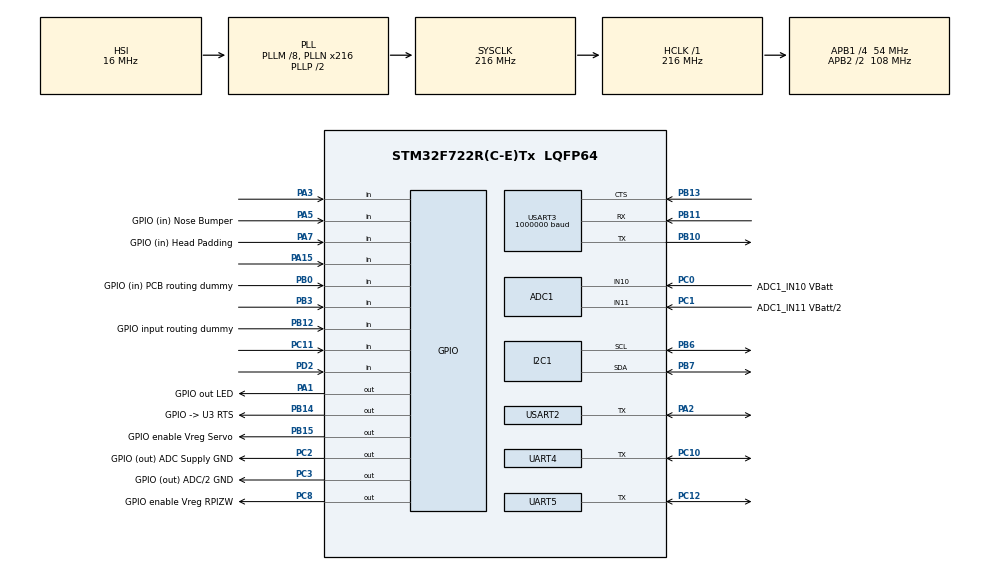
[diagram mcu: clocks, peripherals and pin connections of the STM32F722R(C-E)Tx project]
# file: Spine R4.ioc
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Mcu.Family=STM32F7
Dma.USART2_RX.2.PeriphDataAlignment=DMA_PDATAALIGN_BYTE
PA2.GPIO_PuPd=GPIO_PULLUP
VP_TIM5_VS_ClockSourceINT.Mode=Internal
Dma.USART3_RX.1.Mode=DMA_NORMAL
RCC.CortexFreq_Value=216000000
PC10.GPIO_PuPd=GPIO_PULLUP
PB10.GPIO_PuPd=GPIO_PULLUP
PB10.Mode=Asynchronous
NVIC.DMA1_Stream2_IRQn=true\:0\:0\:false\:false\:true\:false\:true
PC10.Signal=UART4_TX
PC12.Signal=UART5_TX
PB14.GPIO_Label=GPIO -> U3 RTS
PA2.GPIO_Speed=GPIO_SPEED_FREQ_VERY_HIGH
USART3.SwapParam=ADVFEATURE_SWAP_DISABLE
PC0.GPIO_Label=ADC1_IN10 VBatt
PB0.GPIO_Label=GPIO (in) PCB routing dummy
PB11.GPIO_PuPd=GPIO_PULLUP
PB11.Signal=USART3_RX
PB13.Signal=USART3_CTS
PB15.Signal=GPIO_Output
PB15.PinState=GPIO_PIN_SET
RCC.SYSCLKSource=RCC_SYSCLKSOURCE_PLLCLK
ProjectManager.StackSize=0x400
PC8.PinState=GPIO_PIN_SET
Dma.UART5_RX.3.MemDataAlignment=DMA_MDATAALIGN_BYTE
Dma.UART5_RX.3.Mode=DMA_NORMAL
USART3.VirtualMode-Asynchronous=VM_ASYNC
Dma.USART3_RX.1.MemInc=DMA_MINC_ENABLE
USART3.BaudRate=1000000
Dma.USART3_RX.1.Instance=DMA1_Stream1
UART4.BaudRate=1000000
RCC.HCLKFreq_Value=216000000
RCC.APB2TimFreq_Value=216000000
PB6.Signal=I2C1_SCL
Dma.USART3_RX.1.PeriphDataAlignment=DMA_PDATAALIGN_BYTE
PB6.Mode=I2C
Dma.USART2_RX.2.Priority=DMA_PRIORITY_HIGH
PC3.Signal=GPIO_Output
Dma.USART2_RX.2.MemDataAlignment=DMA_MDATAALIGN_BYTE
UART5.OverSampling=UART_OVERSAMPLING_16
RCC.AHBFreq_Value=216000000
PC10.GPIO_ModeDefaultOD=GPIO_MODE_AF_OD
ADC1.Channel-0\#ChannelRegularConversion=ADC_CHANNEL_10
RCC.HSE_VALUE=25000000
Dma.UART4_RX.0.MemDataAlignment=DMA_MDATAALIGN_BYTE
PB12.GPIO_Label=GPIO input routing dummy
Dma.USART3_RX.1.Priority=DMA_PRIORITY_HIGH
PA14.Mode=Serial_Wire
PA5.GPIO_PuPd=GPIO_PULLUP
PB7.Signal=I2C1_SDA
Dma.UART4_RX.0.PeriphDataAlignment=DMA_PDATAALIGN_BYTE
Dma.UART5_RX.3.Priority=DMA_PRIORITY_HIGH
ADC1.SamplingTime-0\#ChannelRegularConversion=ADC_SAMPLETIME_3CYCLES
RCC.UART4CLockSelection=RCC_UART4CLKSOURCE_SYSCLK
Mcu.Package=LQFP64
Dma.USART3_RX.1.FIFOMode=DMA_FIFOMODE_DISABLE
Dma.USART3_RX.1.Direction=DMA_PERIPH_TO_MEMORY
Dma.UART5_RX.3.PeriphInc=DMA_PINC_DISABLE
PA15.Signal=GPIO_Input
Dma.USART2_RX.2.Direction=DMA_PERIPH_TO_MEMORY
RCC.APB2CLKDivider=RCC_HCLK_DIV2
RCC.UART5CLockSelection=RCC_UART5CLKSOURCE_SYSCLK
Dma.Request2=USART2_RX
PC2.GPIO_ModeDefaultOutputPP=GPIO_MODE_OUTPUT_OD
Dma.Request1=USART3_RX
RCC.APB1TimFreq_Value=108000000
Dma.Request3=UART5_RX
NVIC.DMA1_Stream0_IRQn=true\:0\:0\:false\:false\:true\:false\:true
UART5.BaudRate=1000000
PB13.Mode=CTS_Only
Dma.Request0=UART4_RX
UART4.OverSampling=UART_OVERSAMPLING_16
VP_TIM5_VS_ClockSourceITR.Mode=TriggerSource_ITR0
PC2.GPIO_Label=GPIO (out) ADC Supply GND
PA3.Signal=GPIO_Input
Dma.UART4_RX.0.MemInc=DMA_MINC_ENABLE
ADC1.Rank-0\#ChannelRegularConversion=1
PC11.Signal=GPIO_Input
Dma.UART4_RX.0.Mode=DMA_NORMAL
PC8.Signal=GPIO_Output
PC2.Signal=GPIO_Output
PC10.Mode=Half_duplex(single_wire_mode)
Dma.USART3_RX.1.MemDataAlignment=DMA_MDATAALIGN_BYTE
NVIC.DMA1_Stream1_IRQn=true\:0\:0\:false\:false\:true\:false\:true
PC0.Signal=ADCx_IN10
RCC.APB1CLKDivider=RCC_HCLK_DIV4
PA2.GPIO_ModeDefaultOD=GPIO_MODE_AF_OD
USART2.BaudRate=1000000
Dma.USART2_RX.2.Mode=DMA_NORMAL
TIM5.ClockDivision=TIM_CLOCKDIVISION_DIV1
RCC.USART6CLockSelection=RCC_USART6CLKSOURCE_SYSCLK
USART3.OverSampling=UART_OVERSAMPLING_16
PC8.GPIO_Label=GPIO enable Vreg RPIZW
PA13.Signal=SYS_JTMS-SWDIO
Dma.UART5_RX.3.Instance=DMA1_Stream0
PB14.PinState=GPIO_PIN_SET
Dma.USART2_RX.2.MemInc=DMA_MINC_ENABLE
Dma.UART4_RX.0.Direction=DMA_PERIPH_TO_MEMORY
PB11.Mode=Asynchronous
ProjectManager.TargetToolchain=STM32CubeIDE
NVIC.DMA1_Stream5_IRQn=true\:0\:0\:false\:false\:true\:false\:true
I2C1.Timing=0x20404768
RCC.USBFreq_Value=216000000
Dma.UART4_RX.0.PeriphInc=DMA_PINC_DISABLE
RCC.LSE_VALUE=32768
PA1.Signal=GPIO_Output
PA7.GPIO_PuPd=GPIO_PULLUP
PB10.Signal=USART3_TX
PB14.Signal=GPIO_Output
PA5.Signal=GPIO_Input
PC12.Mode=Half_duplex(single_wire_mode)
board=custom
RCC.VCOOutputFreq_Value=432000000
Dma.UART4_RX.0.FIFOMode=DMA_FIFOMODE_DISABLE
Dma.UART4_RX.0.Priority=DMA_PRIORITY_HIGH
Dma.USART2_RX.2.PeriphInc=DMA_PINC_DISABLE
RCC.APB2Freq_Value=108000000
SH.ADCx_IN11.0=ADC1_IN11,IN11
PB15.GPIO_Label=GPIO enable Vreg Servo
Dma.UART5_RX.3.FIFOMode=DMA_FIFOMODE_DISABLE
PC1.GPIO_Label=ADC1_IN11 VBatt/2
PA1.GPIO_Label=GPIO out LED
Dma.UART5_RX.3.PeriphDataAlignment=DMA_PDATAALIGN_BYTE
PA13.Mode=Serial_Wire
Mcu.Name=STM32F722R(C-E)Tx
Dma.UART5_RX.3.Direction=DMA_PERIPH_TO_MEMORY
PA2.Signal=USART2_TX
PB3.Signal=GPIO_Input
RCC.SYSCLKFreq_VALUE=216000000
PA7.GPIO_Label=GPIO (in) Head Padding
ADC1.master=1
RCC.USART1CLockSelection=RCC_USART1CLKSOURCE_SYSCLK
PA5.GPIO_Label=GPIO (in) Nose Bumper
TIM5.Prescaler=54000
Dma.USART2_RX.2.Instance=DMA1_Stream5
USART2.VirtualMode-Half_duplex(single_wire_mode)=VM_ASYNC
PB7.Mode=I2C
PA14.Signal=SYS_JTCK-SWCLK
SH.ADCx_IN10.0=ADC1_IN10,IN10
ProjectManager.HeapSize=0x200
RCC.HSI_VALUE=16000000
NVIC.PriorityGroup=NVIC_PRIORITYGROUP_4
ADC1.NbrOfConversionFlag=1
RCC.PLLM=8
RCC.PLLN=216
Dma.UART4_RX.0.Instance=DMA1_Stream2
PA2.Mode=Half_duplex(single_wire_mode)
PC3.GPIO_Label=GPIO (out) ADC/2 GND
TIM5.Period=0xffffffff
Dma.USART2_RX.2.FIFOMode=DMA_FIFOMODE_DISABLE
RCC.USART2CLockSelection=RCC_USART2CLKSOURCE_SYSCLK
PC3.GPIO_ModeDefaultOutputPP=GPIO_MODE_OUTPUT_OD
PD2.Signal=GPIO_Input
RCC.APB1Freq_Value=54000000
PB0.Signal=GPIO_Input
RCC.USART3CLockSelection=RCC_USART3CLKSOURCE_SYSCLK
PC1.Signal=ADCx_IN11
PB12.Signal=GPIO_Input
Dma.USART3_RX.1.PeriphInc=DMA_PINC_DISABLE
Dma.UART5_RX.3.MemInc=DMA_MINC_ENABLE
PA7.Signal=GPIO_Input

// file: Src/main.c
/* USER CODE BEGIN Header */
/**
 ******************************************************************************
 * @file           : main.c
 * @brief          : Main program body
 ******************************************************************************
 * @attention
 *
 * <h2><center>&copy; Copyright (c) 2019 STMicroelectronics.
 * All rights reserved.</center></h2>
 *
 * This software component is licensed by ST under BSD 3-Clause license,
 * the "License"; You may not use this file except in compliance with the
 * License. You may obtain a copy of the License at:
 *                        opensource.org/licenses/BSD-3-Clause
 *
 ******************************************************************************
 */
/* USER CODE END Header */

#include "main.h"

/* USER CODE BEGIN Includes */
#include <mouseSpine.h>

/* USER CODE END Includes */

ADC_HandleTypeDef hadc1;

I2C_HandleTypeDef hi2c1;

TIM_HandleTypeDef htim5;

UART_HandleTypeDef huart4;
UART_HandleTypeDef huart5;
UART_HandleTypeDef huart2;
UART_HandleTypeDef huart3;
DMA_HandleTypeDef hdma_uart4_rx;
DMA_HandleTypeDef hdma_uart5_rx;
DMA_HandleTypeDef hdma_usart2_rx;
DMA_HandleTypeDef hdma_usart3_rx;

/* USER CODE BEGIN PV */
long ledCounter = 1;

/* USER CODE END PV */

void SystemClock_Config(void);
static void MX_GPIO_Init(void);
static void MX_DMA_Init(void);
static void MX_USART3_UART_Init(void);
static void MX_ADC1_Init(void);
static void MX_UART4_Init(void);
static void MX_UART5_Init(void);
static void MX_USART2_UART_Init(void);
static void MX_I2C1_Init(void);
static void MX_TIM5_Init(void);

/* USER CODE BEGIN 0 */

void setLEDcounter(long l) {
	ledCounter = l;
}

// ***********************************************************************************************************
//#define DELAY_1US	  ((unsigned long) 140)				// timing for RELEASE
//#define DELAY_1MS	  ((unsigned long) 108823)			// timing for RELEASE

#define DELAY_1US	  ((unsigned long) 189)				// timing for RELEASE
#define DELAY_1MS	  ((unsigned long) 146899)			// timing for RELEASE

void sleepUS(unsigned long delayTimeUS) {
	unsigned long m, n;
	for (n = 0; n < delayTimeUS; n++) {
		for (m = DELAY_1US; m; m--) {
			asm volatile ("nop");
		}
	}
}

void sleepMS(unsigned long delayTimeMS) {
	unsigned long m, n;
	for (n = 0; n < delayTimeMS; n++) {
		for (m = DELAY_1MS; m; m--) {
			asm volatile ("nop");
		}
	}
}

/* USER CODE END 0 */

int main(void) {
	/* USER CODE BEGIN 1 */
	// **************************************************************************************************	IWDG (independent watch-dog timer)
	if ((RCC->CSR) & BIT(29)) {		// are we waking up from a WDT reset?
		RCC->CSR |= BIT(24);// clear reset flags (memory of reset source) (so next time we're not ending here)
		enterBootLoader();// start boot loader, so we can update software if needed!
	}

	/* USER CODE END 1 */

	/* MCU Configuration--------------------------------------------------------*/

	/* Reset of all peripherals, Initializes the Flash interface and the Systick. */
	HAL_Init();

	/* Configure the system clock */
	SystemClock_Config();

	/* USER CODE BEGIN SysInit */

	SCB_InvalidateICache();
	SCB_DisableICache();				// disable instruction cache
	SCB_InvalidateDCache();
	SCB_DisableDCache();				// disable data cache

	/* USER CODE END SysInit */

	/* Initialize all configured peripherals */
	MX_GPIO_Init();
	MX_DMA_Init();
	MX_USART3_UART_Init();
	MX_ADC1_Init();
	MX_UART4_Init();
	MX_UART5_Init();
	MX_USART2_UART_Init();
	MX_I2C1_Init();
	MX_TIM5_Init();
	/* USER CODE BEGIN 2 */

	// ***********************************************************************************************************************
	GPIO_InitTypeDef pinDefML;
	pinDefML.Pin = (PORTC_ENABLE_RPIZW_POWER);		// enable the Vreg for RPIZW
	pinDefML.Mode = GPIO_MODE_OUTPUT_PP;
	pinDefML.Pull = GPIO_PULLUP;
	pinDefML.Speed = GPIO_SPEED_LOW;
	HAL_GPIO_Init(GPIOC, &pinDefML);
	PORTC->SET = PORTC_ENABLE_RPIZW_POWER;

	pinDefML.Pin = (PORTB_ENABLE_SERVOS_POWER);	// enable the Vreg for Servos
	pinDefML.Mode = GPIO_MODE_OUTPUT_PP;
	pinDefML.Pull = GPIO_PULLUP;
	pinDefML.Speed = GPIO_SPEED_LOW;
	HAL_GPIO_Init(GPIOB, &pinDefML);
	PORTB->SET = PORTB_ENABLE_SERVOS_POWER;

	/* USER CODE END 2 */

	/* Infinite loop */
	/* USER CODE BEGIN WHILE */

	uartShowVersion();

	long UART_BytesAvailable;
	char newChar;

	systemTimeHalfMS = 0;		// set System Time (Timer 5: TIM5->CNT) to zero
	HAL_TIM_Base_Start(&htim5);

	I2C1->CR1 |= I2C_CR1_PE;				// enable I2C
	I2C1->CR2 &= ~(BIT(11));				// set 7 bit addressing mode

	while (1) {
		/* USER CODE END WHILE */

		/* USER CODE BEGIN 3 */

		// ***********************************************************************************************************************
		if (ledCounter) {										// LED blinking
			if ((--ledCounter) == 0) {
				ledCounter = 200000;
				if ((PORTA->INP) & PORTA_LED_A) {
					PORTA->CLR = PORTA_LED_A;
				} else {
					PORTA->SET = PORTA_LED_A;
				}
			}
		}

		// ***********************************************************************************************************************
		UART_BytesAvailable = (-((DMA1_Stream1->NDTR) + uart3RXReadPointerDMA))
				& (UART_BUFFER_MASK);		// U3 - RasPIZW UART receive (UART3)
		while (UART_BytesAvailable) {
			newChar = uart3RXBufferDMA[uart3RXReadPointerDMA++];
			uart3RXReadPointerDMA &= UART_BUFFER_MASK;
			UART_BytesAvailable--;

			if ((newChar == '\n') || (newChar == '\r')) {
				uart3RXBuffer[uart3RXWritePointer++] = '\n';
				uart3RXBuffer[uart3RXWritePointer] = 0;
				uartSendChar('\n');
				uartParseCommand(uart3RXBuffer);
				uart3RXWritePointer = 0;
			} else {

				if (newChar == 8) {								// BACKSPACE
					if (uart3RXWritePointer) {
						uart3RXWritePointer--;
						uartSendChar(8);
					}
				} else {

					if (uart3RXWritePointer < (UART_BUFFER_SIZE - 2)) {
						uart3RXBuffer[uart3RXWritePointer++] = newChar;
					}
					uartSendChar(newChar);
				}
			}
		}

		// ***********************************************************************************************************************
		if (uart3TXWritePointer != uart3TXReadPointer) {// RPIZW UART transmit
			if ((USART3->ISR) & BIT(7)) {
				USART3->TDR = uart3TXBuffer[uart3TXReadPointer++];
				uart3TXReadPointer &= UART_BUFFER_MASK;
			}
		}

		// ***********************************************************************************************************************	U2 to Servo Chain Spine (UART 2)
		UART_BytesAvailable = (-((DMA1_Stream5->NDTR) + uartSRXReadPointerDMA))
				& (UART_BUFFER_MASK);

		while (UART_BytesAvailable) {
			newChar = uartSRXBufferDMA[uartSRXReadPointerDMA++];
			uartSRXReadPointerDMA &= UART_BUFFER_MASK;
			UART_BytesAvailable--;

			if (uartSRXDiscardCounter) {// is this one of the chars we sent out (ignore the echo because of one-wire transmission)
				uartSRXDiscardCounter--;
			} else {

				if (uartSRXWritePointer < (UART_BUFFER_SIZE - 2))
					uartSRXBuffer[uartSRXWritePointer++] = newChar;
				if ((newChar == '\n') || (newChar == '\r')) {
					uartSRXBuffer[uartSRXWritePointer] = 0;
					uartSendString("S:");
					uartSendString(uartSRXBuffer);
					uartSRXWritePointer = 0;
				}

			}
		}

		if (uartSTXWritePointer != uartSTXReadPointer) {// ***************************************************************
			if ((USART2->ISR) & BIT(7)) {
				USART2->TDR = uartSTXBuffer[uartSTXReadPointer++];
				uartSTXReadPointer &= UART_BUFFER_MASK;
#ifdef UART_SINGLE_WIRE
				uartSRXDiscardCounter++;
#endif
			}
		}

		// ***********************************************************************************************************************	U4 to Servo Chain Right (UART 4)
		UART_BytesAvailable = (-((DMA1_Stream2->NDTR) + uartRRXReadPointerDMA))
				& (UART_BUFFER_MASK);

		while (UART_BytesAvailable) {
			newChar = uartRRXBufferDMA[uartRRXReadPointerDMA++];
			uartRRXReadPointerDMA &= UART_BUFFER_MASK;
			UART_BytesAvailable--;

			if (uartRRXDiscardCounter) {// is this one of the chars we sent out (ignore the echo because of one-wire transmission)
				uartRRXDiscardCounter--;
			} else {

				if (uartRRXWritePointer < (UART_BUFFER_SIZE - 2))
					uartRRXBuffer[uartRRXWritePointer++] = newChar;
				if ((newChar == '\n') || (newChar == '\r')) {
					uartRRXBuffer[uartRRXWritePointer] = 0;
					uartSendString("R:");
					uartSendString(uartRRXBuffer);
					uartRRXWritePointer = 0;
				}

			}
		}

		if (uartRTXWritePointer != uartRTXReadPointer) {// ***************************************************************
			if ((UART4->ISR) & BIT(7)) {
				UART4->TDR = uartRTXBuffer[uartRTXReadPointer++];
				uartRTXReadPointer &= UART_BUFFER_MASK;
#ifdef UART_SINGLE_WIRE
				uartRRXDiscardCounter++;
#endif
			}
		}

		// ***********************************************************************************************************************	U5 to Servo Chain Left (UART 5)
		UART_BytesAvailable = (-((DMA1_Stream0->NDTR) + uartLRXReadPointerDMA))
				& (UART_BUFFER_MASK);

		while (UART_BytesAvailable) {
			newChar = uartLRXBufferDMA[uartLRXReadPointerDMA++];
			uartLRXReadPointerDMA &= UART_BUFFER_MASK;
			UART_BytesAvailable--;

			if (uartLRXDiscardCounter) {// is this one of the chars we sent out (ignore the echo because of one-wire transmission)
				uartLRXDiscardCounter--;
			} else {

				if (uartLRXWritePointer < (UART_BUFFER_SIZE - 2))
					uartLRXBuffer[uartLRXWritePointer++] = newChar;
				if ((newChar == '\n') || (newChar == '\r')) {
					uartLRXBuffer[uartLRXWritePointer] = 0;
					uartSendString("L:");
					uartSendString(uartLRXBuffer);
					uartLRXWritePointer = 0;
				}

			}
		}

		if (uartLTXWritePointer != uartLTXReadPointer) {// ***************************************************************
			if ((UART5->ISR) & BIT(7)) {
				UART5->TDR = uartLTXBuffer[uartLTXReadPointer++];
				uartLTXReadPointer &= UART_BUFFER_MASK;
#ifdef UART_SINGLE_WIRE
				uartLRXDiscardCounter++;
#endif
			}
		}

	}
	/* USER CODE END 3 */
}

void SystemClock_Config(void) {
	RCC_OscInitTypeDef RCC_OscInitStruct = { 0 };
	RCC_ClkInitTypeDef RCC_ClkInitStruct = { 0 };
	RCC_PeriphCLKInitTypeDef PeriphClkInitStruct = { 0 };

	/** Configure the main internal regulator output voltage
	 */
	__HAL_RCC_PWR_CLK_ENABLE();
	__HAL_PWR_VOLTAGESCALING_CONFIG(PWR_REGULATOR_VOLTAGE_SCALE1);
	/** Initializes the CPU, AHB and APB busses clocks
	 */
	RCC_OscInitStruct.OscillatorType = RCC_OSCILLATORTYPE_HSI;
	RCC_OscInitStruct.HSIState = RCC_HSI_ON;
	RCC_OscInitStruct.HSICalibrationValue = RCC_HSICALIBRATION_DEFAULT;
	RCC_OscInitStruct.PLL.PLLState = RCC_PLL_ON;
	RCC_OscInitStruct.PLL.PLLSource = RCC_PLLSOURCE_HSI;
	RCC_OscInitStruct.PLL.PLLM = 8;
	RCC_OscInitStruct.PLL.PLLN = 216;
	RCC_OscInitStruct.PLL.PLLP = RCC_PLLP_DIV2;
	RCC_OscInitStruct.PLL.PLLQ = 2;
	if (HAL_RCC_OscConfig(&RCC_OscInitStruct) != HAL_OK) {
		Error_Handler();
	}
	/** Activate the Over-Drive mode
	 */
	if (HAL_PWREx_EnableOverDrive() != HAL_OK) {
		Error_Handler();
	}
	/** Initializes the CPU, AHB and APB busses clocks
	 */
	RCC_ClkInitStruct.ClockType = RCC_CLOCKTYPE_HCLK | RCC_CLOCKTYPE_SYSCLK
			| RCC_CLOCKTYPE_PCLK1 | RCC_CLOCKTYPE_PCLK2;
	RCC_ClkInitStruct.SYSCLKSource = RCC_SYSCLKSOURCE_PLLCLK;
	RCC_ClkInitStruct.AHBCLKDivider = RCC_SYSCLK_DIV1;
	RCC_ClkInitStruct.APB1CLKDivider = RCC_HCLK_DIV4;
	RCC_ClkInitStruct.APB2CLKDivider = RCC_HCLK_DIV2;

	if (HAL_RCC_ClockConfig(&RCC_ClkInitStruct, FLASH_LATENCY_7) != HAL_OK) {
		Error_Handler();
	}
	PeriphClkInitStruct.PeriphClockSelection = RCC_PERIPHCLK_USART2
			| RCC_PERIPHCLK_USART3 | RCC_PERIPHCLK_UART4 | RCC_PERIPHCLK_UART5
			| RCC_PERIPHCLK_I2C1;
	PeriphClkInitStruct.Usart2ClockSelection = RCC_USART2CLKSOURCE_SYSCLK;
	PeriphClkInitStruct.Usart3ClockSelection = RCC_USART3CLKSOURCE_SYSCLK;
	PeriphClkInitStruct.Uart4ClockSelection = RCC_UART4CLKSOURCE_SYSCLK;
	PeriphClkInitStruct.Uart5ClockSelection = RCC_UART5CLKSOURCE_SYSCLK;
	PeriphClkInitStruct.I2c1ClockSelection = RCC_I2C1CLKSOURCE_PCLK1;
	if (HAL_RCCEx_PeriphCLKConfig(&PeriphClkInitStruct) != HAL_OK) {
		Error_Handler();
	}
}

static void MX_ADC1_Init(void) {

	ADC_ChannelConfTypeDef sConfig = { 0 };

	/** Configure the global features of the ADC (Clock, Resolution, Data Alignment and number of conversion)
	 */
	hadc1.Instance = ADC1;
	hadc1.Init.ClockPrescaler = ADC_CLOCK_SYNC_PCLK_DIV4;
	hadc1.Init.Resolution = ADC_RESOLUTION_12B;
	hadc1.Init.ScanConvMode = ADC_SCAN_DISABLE;
	hadc1.Init.ContinuousConvMode = DISABLE;
	hadc1.Init.DiscontinuousConvMode = DISABLE;
	hadc1.Init.ExternalTrigConvEdge = ADC_EXTERNALTRIGCONVEDGE_NONE;
	hadc1.Init.ExternalTrigConv = ADC_SOFTWARE_START;
	hadc1.Init.DataAlign = ADC_DATAALIGN_RIGHT;
	hadc1.Init.NbrOfConversion = 1;
	hadc1.Init.DMAContinuousRequests = DISABLE;
	hadc1.Init.EOCSelection = ADC_EOC_SINGLE_CONV;
	if (HAL_ADC_Init(&hadc1) != HAL_OK) {
		Error_Handler();
	}
	/** Configure for the selected ADC regular channel its corresponding rank in the sequencer and its sample time.
	 */
	sConfig.Channel = ADC_CHANNEL_10;
	sConfig.Rank = ADC_REGULAR_RANK_1;
	sConfig.SamplingTime = ADC_SAMPLETIME_3CYCLES;
	if (HAL_ADC_ConfigChannel(&hadc1, &sConfig) != HAL_OK) {
		Error_Handler();
	}

}

static void MX_I2C1_Init(void) {

	hi2c1.Instance = I2C1;
	hi2c1.Init.Timing = 0x20404768;
	hi2c1.Init.OwnAddress1 = 0;
	hi2c1.Init.AddressingMode = I2C_ADDRESSINGMODE_7BIT;
	hi2c1.Init.DualAddressMode = I2C_DUALADDRESS_DISABLE;
	hi2c1.Init.OwnAddress2 = 0;
	hi2c1.Init.OwnAddress2Masks = I2C_OA2_NOMASK;
	hi2c1.Init.GeneralCallMode = I2C_GENERALCALL_DISABLE;
	hi2c1.Init.NoStretchMode = I2C_NOSTRETCH_DISABLE;
	if (HAL_I2C_Init(&hi2c1) != HAL_OK) {
		Error_Handler();
	}
	/** Configure Analogue filter
	 */
	if (HAL_I2CEx_ConfigAnalogFilter(&hi2c1, I2C_ANALOGFILTER_ENABLE)
			!= HAL_OK) {
		Error_Handler();
	}
	/** Configure Digital filter
	 */
	if (HAL_I2CEx_ConfigDigitalFilter(&hi2c1, 0) != HAL_OK) {
		Error_Handler();
	}

}

static void MX_TIM5_Init(void) {

	TIM_ClockConfigTypeDef sClockSourceConfig = { 0 };
	TIM_SlaveConfigTypeDef sSlaveConfig = { 0 };
	TIM_MasterConfigTypeDef sMasterConfig = { 0 };

	htim5.Instance = TIM5;
	htim5.Init.Prescaler = 54000;
	htim5.Init.CounterMode = TIM_COUNTERMODE_UP;
	htim5.Init.Period = 0xffffffff;
	htim5.Init.ClockDivision = TIM_CLOCKDIVISION_DIV1;
	htim5.Init.AutoReloadPreload = TIM_AUTORELOAD_PRELOAD_DISABLE;
	if (HAL_TIM_Base_Init(&htim5) != HAL_OK) {
		Error_Handler();
	}
	sClockSourceConfig.ClockSource = TIM_CLOCKSOURCE_INTERNAL;
	if (HAL_TIM_ConfigClockSource(&htim5, &sClockSourceConfig) != HAL_OK) {
		Error_Handler();
	}
	sSlaveConfig.SlaveMode = TIM_SLAVEMODE_DISABLE;
	sSlaveConfig.InputTrigger = TIM_TS_ITR0;
	if (HAL_TIM_SlaveConfigSynchro(&htim5, &sSlaveConfig) != HAL_OK) {
		Error_Handler();
	}
	sMasterConfig.MasterOutputTrigger = TIM_TRGO_RESET;
	sMasterConfig.MasterSlaveMode = TIM_MASTERSLAVEMODE_DISABLE;
	if (HAL_TIMEx_MasterConfigSynchronization(&htim5, &sMasterConfig)
			!= HAL_OK) {
		Error_Handler();
	}

}

static void MX_UART4_Init(void) {

	huart4.Instance = UART4;
	huart4.Init.BaudRate = 1000000;
	huart4.Init.WordLength = UART_WORDLENGTH_8B;
	huart4.Init.StopBits = UART_STOPBITS_1;
	huart4.Init.Parity = UART_PARITY_NONE;
	huart4.Init.Mode = UART_MODE_TX_RX;
	huart4.Init.HwFlowCtl = UART_HWCONTROL_NONE;
	huart4.Init.OverSampling = UART_OVERSAMPLING_16;
	huart4.Init.OneBitSampling = UART_ONE_BIT_SAMPLE_DISABLE;
	huart4.AdvancedInit.AdvFeatureInit = UART_ADVFEATURE_NO_INIT;
	if (HAL_HalfDuplex_Init(&huart4) != HAL_OK) {
		Error_Handler();
	}
	/* USER CODE BEGIN UART4_Init 2 */

	// **************************************************************************************************	configure DMA input
	hdma_uart4_rx.Instance = DMA1_Stream2;
	hdma_uart4_rx.Init.Channel = DMA_CHANNEL_4;
	hdma_uart4_rx.Init.Direction = DMA_PERIPH_TO_MEMORY;
	hdma_uart4_rx.Init.PeriphInc = DMA_PINC_DISABLE;
	hdma_uart4_rx.Init.MemInc = DMA_MINC_ENABLE;
	hdma_uart4_rx.Init.PeriphDataAlignment = DMA_PDATAALIGN_BYTE;
	hdma_uart4_rx.Init.MemDataAlignment = DMA_MDATAALIGN_BYTE;
	hdma_uart4_rx.Init.Mode = DMA_CIRCULAR;
	hdma_uart4_rx.Init.Priority = DMA_PRIORITY_HIGH;
	hdma_uart4_rx.Init.FIFOMode = DMA_FIFOMODE_DISABLE;
	hdma_uart4_rx.Init.MemBurst = DMA_MBURST_SINGLE;
	hdma_uart4_rx.Init.PeriphBurst = DMA_PBURST_SINGLE;

	HAL_DMA_Init(&hdma_uart4_rx);							// initialize DMA
	UART4->CR3 |= USART_CR3_DMAR;					// enable UART4 receive DMA
	HAL_DMA_Start(&hdma_uart4_rx, (uint32_t) (&(UART4->RDR)),
			(uint32_t) uartRRXBufferDMA, UART_BUFFER_SIZE);	// start continuous ring buffer DMA transfer from UART4 -> RIGHT_RX_BUFFER

	/* USER CODE END UART4_Init 2 */

}

static void MX_UART5_Init(void) {

	huart5.Instance = UART5;
	huart5.Init.BaudRate = 1000000;
	huart5.Init.WordLength = UART_WORDLENGTH_8B;
	huart5.Init.StopBits = UART_STOPBITS_1;
	huart5.Init.Parity = UART_PARITY_NONE;
	huart5.Init.Mode = UART_MODE_TX_RX;
	huart5.Init.HwFlowCtl = UART_HWCONTROL_NONE;
	huart5.Init.OverSampling = UART_OVERSAMPLING_16;
	huart5.Init.OneBitSampling = UART_ONE_BIT_SAMPLE_DISABLE;
	huart5.AdvancedInit.AdvFeatureInit = UART_ADVFEATURE_NO_INIT;
	if (HAL_HalfDuplex_Init(&huart5) != HAL_OK) {
		Error_Handler();
	}
	/* USER CODE BEGIN UART5_Init 2 */

	// **************************************************************************************************	configure DMA input
	hdma_uart5_rx.Instance = DMA1_Stream0;
	hdma_uart5_rx.Init.Channel = DMA_CHANNEL_4;
	hdma_uart5_rx.Init.Direction = DMA_PERIPH_TO_MEMORY;
	hdma_uart5_rx.Init.PeriphInc = DMA_PINC_DISABLE;
	hdma_uart5_rx.Init.MemInc = DMA_MINC_ENABLE;
	hdma_uart5_rx.Init.PeriphDataAlignment = DMA_PDATAALIGN_BYTE;
	hdma_uart5_rx.Init.MemDataAlignment = DMA_MDATAALIGN_BYTE;
	hdma_uart5_rx.Init.Mode = DMA_CIRCULAR;
	hdma_uart5_rx.Init.Priority = DMA_PRIORITY_HIGH;
	hdma_uart5_rx.Init.FIFOMode = DMA_FIFOMODE_DISABLE;
	hdma_uart5_rx.Init.MemBurst = DMA_MBURST_SINGLE;
	hdma_uart5_rx.Init.PeriphBurst = DMA_PBURST_SINGLE;

	HAL_DMA_Init(&hdma_uart5_rx);							// initialize DMA
	UART5->CR3 |= USART_CR3_DMAR;					// enable UART5 receive DMA
	HAL_DMA_Start(&hdma_uart5_rx, (uint32_t) (&(UART5->RDR)),
			(uint32_t) uartLRXBufferDMA, UART_BUFFER_SIZE);	// start continuous ring buffer DMA transfer from UART5 -> LEFT_RX_BUFFER

	/* USER CODE END UART5_Init 2 */

}

static void MX_USART2_UART_Init(void) {

	huart2.Instance = USART2;
	huart2.Init.BaudRate = 1000000;
	huart2.Init.WordLength = UART_WORDLENGTH_8B;
	huart2.Init.StopBits = UART_STOPBITS_1;
	huart2.Init.Parity = UART_PARITY_NONE;
	huart2.Init.Mode = UART_MODE_TX_RX;
	huart2.Init.HwFlowCtl = UART_HWCONTROL_NONE;
	huart2.Init.OverSampling = UART_OVERSAMPLING_16;
	huart2.Init.OneBitSampling = UART_ONE_BIT_SAMPLE_DISABLE;
	huart2.AdvancedInit.AdvFeatureInit = UART_ADVFEATURE_NO_INIT;
	if (HAL_HalfDuplex_Init(&huart2) != HAL_OK) {
		Error_Handler();
	}
	/* USER CODE BEGIN USART2_Init 2 */

	// **************************************************************************************************	configure DMA input
	hdma_usart2_rx.Instance = DMA1_Stream5;
	hdma_usart2_rx.Init.Channel = DMA_CHANNEL_4;
	hdma_usart2_rx.Init.Direction = DMA_PERIPH_TO_MEMORY;
	hdma_usart2_rx.Init.PeriphInc = DMA_PINC_DISABLE;
	hdma_usart2_rx.Init.MemInc = DMA_MINC_ENABLE;
	hdma_usart2_rx.Init.PeriphDataAlignment = DMA_PDATAALIGN_BYTE;
	hdma_usart2_rx.Init.MemDataAlignment = DMA_MDATAALIGN_BYTE;
	hdma_usart2_rx.Init.Mode = DMA_CIRCULAR;
	hdma_usart2_rx.Init.Priority = DMA_PRIORITY_HIGH;
	hdma_usart2_rx.Init.FIFOMode = DMA_FIFOMODE_DISABLE;
	hdma_usart2_rx.Init.MemBurst = DMA_MBURST_SINGLE;
	hdma_usart2_rx.Init.PeriphBurst = DMA_PBURST_SINGLE;

	HAL_DMA_Init(&hdma_usart2_rx);							// initialize DMA
	USART2->CR3 |= USART_CR3_DMAR;					// enable UART2 receive DMA
	HAL_DMA_Start(&hdma_usart2_rx, (uint32_t) (&(USART2->RDR)),
			(uint32_t) uartSRXBufferDMA, UART_BUFFER_SIZE);	// start continuous ring buffer DMA transfer from UART2 -> SPINE_RX_BUFFER

	/* USER CODE END USART2_Init 2 */

}

static void MX_USART3_UART_Init(void) {

	huart3.Instance = USART3;
	huart3.Init.BaudRate = 1000000;
	huart3.Init.WordLength = UART_WORDLENGTH_8B;
	huart3.Init.StopBits = UART_STOPBITS_1;
	huart3.Init.Parity = UART_PARITY_NONE;
	huart3.Init.Mode = UART_MODE_TX_RX;
	huart3.Init.HwFlowCtl = UART_HWCONTROL_CTS;
	huart3.Init.OverSampling = UART_OVERSAMPLING_16;
	huart3.Init.OneBitSampling = UART_ONE_BIT_SAMPLE_DISABLE;
	huart3.AdvancedInit.AdvFeatureInit = UART_ADVFEATURE_NO_INIT;
	if (HAL_UART_Init(&huart3) != HAL_OK) {
		Error_Handler();
	}
	/* USER CODE BEGIN USART3_Init 2 */

	// **************************************************************************************************	set RTS active
	GPIO_InitTypeDef pinDefU3;

	pinDefU3.Pin = (PORTB_USART3_RTS);
	pinDefU3.Mode = GPIO_MODE_OUTPUT_PP;
	pinDefU3.Pull = GPIO_NOPULL;
	pinDefU3.Speed = GPIO_SPEED_LOW;
	HAL_GPIO_Init(GPIOB, &pinDefU3);
	PORTB->CLR = PORTB_USART3_RTS;	// set RTS low (i.e. allow incoming data)

	// **************************************************************************************************	configure DMA input
	hdma_usart3_rx.Instance = DMA1_Stream1;
	hdma_usart3_rx.Init.Channel = DMA_CHANNEL_4;
	hdma_usart3_rx.Init.Direction = DMA_PERIPH_TO_MEMORY;
	hdma_usart3_rx.Init.PeriphInc = DMA_PINC_DISABLE;
	hdma_usart3_rx.Init.MemInc = DMA_MINC_ENABLE;
	hdma_usart3_rx.Init.PeriphDataAlignment = DMA_PDATAALIGN_BYTE;
	hdma_usart3_rx.Init.MemDataAlignment = DMA_MDATAALIGN_BYTE;
	hdma_usart3_rx.Init.Mode = DMA_CIRCULAR;
	hdma_usart3_rx.Init.Priority = DMA_PRIORITY_HIGH;
	hdma_usart3_rx.Init.FIFOMode = DMA_FIFOMODE_DISABLE;
	hdma_usart3_rx.Init.MemBurst = DMA_MBURST_SINGLE;
	hdma_usart3_rx.Init.PeriphBurst = DMA_PBURST_SINGLE;

	HAL_DMA_Init(&hdma_usart3_rx);							// initialize DMA
	USART3->CR3 |= USART_CR3_DMAR;					// enable UART3 receive DMA
	HAL_DMA_Start(&hdma_usart3_rx, (uint32_t) (&(USART3->RDR)),
			(uint32_t) uart3RXBufferDMA, UART_BUFFER_SIZE);	// start continuous ring buffer DMA transfer from UART3 -> U3_RX_BUFFER

	/* USER CODE END USART3_Init 2 */

}

static void MX_DMA_Init(void) {

	/* DMA controller clock enable */
	__HAL_RCC_DMA1_CLK_ENABLE();

	/* DMA interrupt init */
	/* DMA1_Stream0_IRQn interrupt configuration */
	HAL_NVIC_SetPriority(DMA1_Stream0_IRQn, 0, 0);
	HAL_NVIC_EnableIRQ(DMA1_Stream0_IRQn);
	/* DMA1_Stream1_IRQn interrupt configuration */
	HAL_NVIC_SetPriority(DMA1_Stream1_IRQn, 0, 0);
	HAL_NVIC_EnableIRQ(DMA1_Stream1_IRQn);
	/* DMA1_Stream2_IRQn interrupt configuration */
	HAL_NVIC_SetPriority(DMA1_Stream2_IRQn, 0, 0);
	HAL_NVIC_EnableIRQ(DMA1_Stream2_IRQn);
	/* DMA1_Stream5_IRQn interrupt configuration */
	HAL_NVIC_SetPriority(DMA1_Stream5_IRQn, 0, 0);
	HAL_NVIC_EnableIRQ(DMA1_Stream5_IRQn);

}

static void MX_GPIO_Init(void) {
	GPIO_InitTypeDef GPIO_InitStruct = { 0 };

	/* GPIO Ports Clock Enable */
	__HAL_RCC_GPIOC_CLK_ENABLE();
	__HAL_RCC_GPIOA_CLK_ENABLE();
	__HAL_RCC_GPIOB_CLK_ENABLE();
	__HAL_RCC_GPIOD_CLK_ENABLE();

	/*Configure GPIO pin Output Level */
	HAL_GPIO_WritePin(GPIOC, GPIO_ADC_Supply_GND_Pin | GPIO_ADC_2_GND_Pin,
			GPIO_PIN_RESET);

	/*Configure GPIO pin Output Level */
	HAL_GPIO_WritePin(GPIO_out_LED_GPIO_Port, GPIO_out_LED_Pin, GPIO_PIN_RESET);

	/*Configure GPIO pin Output Level */
	HAL_GPIO_WritePin(GPIOB, GPIO____U3_RTS_Pin | GPIO_enable_Vreg_Servo_Pin,
			GPIO_PIN_SET);

	/*Configure GPIO pin Output Level */
	HAL_GPIO_WritePin(GPIO_enable_Vreg_RPIZW_GPIO_Port,
	GPIO_enable_Vreg_RPIZW_Pin, GPIO_PIN_SET);

	/*Configure GPIO pins : GPIO_ADC_Supply_GND_Pin GPIO_ADC_2_GND_Pin */
	GPIO_InitStruct.Pin = GPIO_ADC_Supply_GND_Pin | GPIO_ADC_2_GND_Pin;
	GPIO_InitStruct.Mode = GPIO_MODE_OUTPUT_OD;
	GPIO_InitStruct.Pull = GPIO_NOPULL;
	GPIO_InitStruct.Speed = GPIO_SPEED_FREQ_LOW;
	HAL_GPIO_Init(GPIOC, &GPIO_InitStruct);

	/*Configure GPIO pin : GPIO_out_LED_Pin */
	GPIO_InitStruct.Pin = GPIO_out_LED_Pin;
	GPIO_InitStruct.Mode = GPIO_MODE_OUTPUT_PP;
	GPIO_InitStruct.Pull = GPIO_NOPULL;
	GPIO_InitStruct.Speed = GPIO_SPEED_FREQ_LOW;
	HAL_GPIO_Init(GPIO_out_LED_GPIO_Port, &GPIO_InitStruct);

	/*Configure GPIO pins : PA3 PA15 */
	GPIO_InitStruct.Pin = GPIO_PIN_3 | GPIO_PIN_15;
	GPIO_InitStruct.Mode = GPIO_MODE_INPUT;
	GPIO_InitStruct.Pull = GPIO_NOPULL;
	HAL_GPIO_Init(GPIOA, &GPIO_InitStruct);

	/*Configure GPIO pins : GPIO_Nose_Bumper_Pin GPIO_Head_Padding_Pin */
	GPIO_InitStruct.Pin = GPIO_Nose_Bumper_Pin | GPIO_Head_Padding_Pin;
	GPIO_InitStruct.Mode = GPIO_MODE_INPUT;
	GPIO_InitStruct.Pull = GPIO_PULLUP;
	HAL_GPIO_Init(GPIOA, &GPIO_InitStruct);

	/*Configure GPIO pins : GPIO_PCB_routing_dummy_Pin GPIO_input_routing_dummy_Pin PB3 */
	GPIO_InitStruct.Pin = GPIO_PCB_routing_dummy_Pin
			| GPIO_input_routing_dummy_Pin | GPIO_PIN_3;
	GPIO_InitStruct.Mode = GPIO_MODE_INPUT;
	GPIO_InitStruct.Pull = GPIO_NOPULL;
	HAL_GPIO_Init(GPIOB, &GPIO_InitStruct);

	/*Configure GPIO pins : GPIO____U3_RTS_Pin GPIO_enable_Vreg_Servo_Pin */
	GPIO_InitStruct.Pin = GPIO____U3_RTS_Pin | GPIO_enable_Vreg_Servo_Pin;
	GPIO_InitStruct.Mode = GPIO_MODE_OUTPUT_PP;
	GPIO_InitStruct.Pull = GPIO_NOPULL;
	GPIO_InitStruct.Speed = GPIO_SPEED_FREQ_LOW;
	HAL_GPIO_Init(GPIOB, &GPIO_InitStruct);

	/*Configure GPIO pin : GPIO_enable_Vreg_RPIZW_Pin */
	GPIO_InitStruct.Pin = GPIO_enable_Vreg_RPIZW_Pin;
	GPIO_InitStruct.Mode = GPIO_MODE_OUTPUT_PP;
	GPIO_InitStruct.Pull = GPIO_NOPULL;
	GPIO_InitStruct.Speed = GPIO_SPEED_FREQ_LOW;
	HAL_GPIO_Init(GPIO_enable_Vreg_RPIZW_GPIO_Port, &GPIO_InitStruct);

	/*Configure GPIO pin : PC11 */
	GPIO_InitStruct.Pin = GPIO_PIN_11;
	GPIO_InitStruct.Mode = GPIO_MODE_INPUT;
	GPIO_InitStruct.Pull = GPIO_NOPULL;
	HAL_GPIO_Init(GPIOC, &GPIO_InitStruct);

	/*Configure GPIO pin : PD2 */
	GPIO_InitStruct.Pin = GPIO_PIN_2;
	GPIO_InitStruct.Mode = GPIO_MODE_INPUT;
	GPIO_InitStruct.Pull = GPIO_NOPULL;
	HAL_GPIO_Init(GPIOD, &GPIO_InitStruct);

}

/* USER CODE BEGIN 4 */

// ***********************************************************************************************************************
void enterBootLoader(void) {

	GPIO_InitTypeDef pinDefBL;

	__HAL_RCC_GPIOA_CLK_DISABLE();		// not needed
	__HAL_RCC_GPIOB_CLK_ENABLE();// used for PB10+11 (UART3) and POWER-enable for Servos
	__HAL_RCC_GPIOC_CLK_ENABLE();		// used for POWER-enable for RPIZW

	pinDefBL.Pin = (PORTC_ENABLE_RPIZW_POWER);
	pinDefBL.Mode = GPIO_MODE_OUTPUT_PP;
	pinDefBL.Pull = GPIO_PULLUP;
	pinDefBL.Speed = GPIO_SPEED_LOW;
	HAL_GPIO_Init(GPIOC, &pinDefBL);
	PORTC->SET = PORTC_ENABLE_RPIZW_POWER;

	pinDefBL.Pin = (PORTB_ENABLE_SERVOS_POWER);	// enable the Vreg for Servos
	pinDefBL.Mode = GPIO_MODE_OUTPUT_PP;
	pinDefBL.Pull = GPIO_PULLUP;
	pinDefBL.Speed = GPIO_SPEED_LOW;
	HAL_GPIO_Init(GPIOB, &pinDefBL);
	PORTB->SET = PORTB_ENABLE_SERVOS_POWER;

	SysTick->CTRL = 0;// at least one of these is required before bootloader call
	SysTick->LOAD = 0;
	SysTick->VAL = 0;

	__set_PRIMASK(1);				// Disable interrupts

	// fetch the desired stack pointer from address 0x1FF00000 and store as SP
	__ASM volatile ("movw r3, #0x0000\nmovt r3, #0x1FF0\nldr r3, [r3, #0]\nMSR msp, r3\n" : : : "r3", "sp");
	((void (*)(void)) *((uint32_t*) 0x1FF00004))();

	while (1)
		;

}

/* USER CODE END 4 */

void Error_Handler(void) {
	/* USER CODE BEGIN Error_Handler_Debug */
	/* User can add his own implementation to report the HAL error return state */
//uartSendString("HAL error\n");
	/* USER CODE END Error_Handler_Debug */
}

/************************ (C) COPYRIGHT STMicroelectronics *****END OF FILE****/
